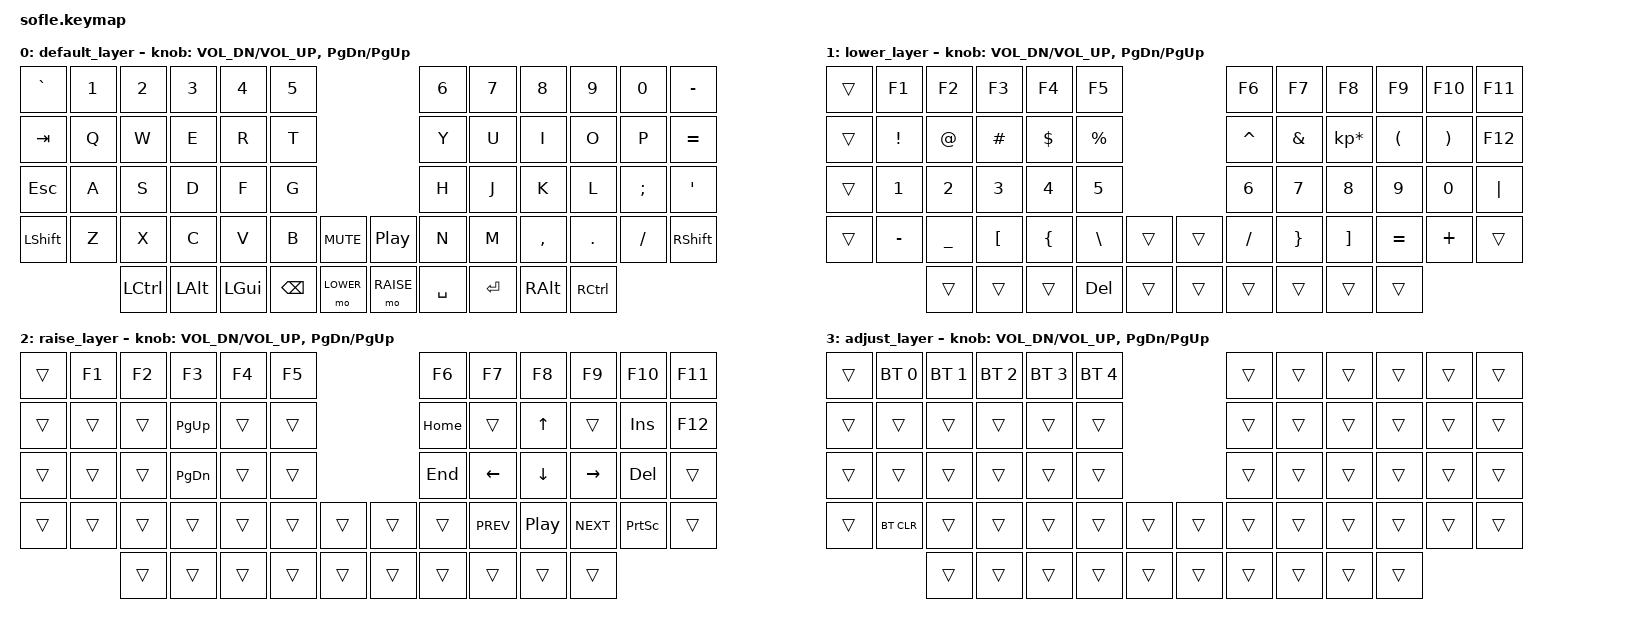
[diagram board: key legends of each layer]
/*
 * Copyright (c) 2020 The ZMK Contributors
 *
 * SPDX-License-Identifier: MIT
 */

#include <behaviors.dtsi>
#include <dt-bindings/zmk/keys.h>
#include <dt-bindings/zmk/bt.h>
#include <dt-bindings/zmk/ext_power.h>

#define DEFAULT 0
#define LOWER   1
#define RAISE   2
#define ADJUST  3

/ {
    conditional_layers {
        compatible = "zmk,conditional-layers";
        adjust_layer {
            if-layers = <LOWER RAISE>;
            then-layer = <ADJUST>;
        };
    };

    keymap {
        compatible = "zmk,keymap";

        default_layer {
// ------------------------------------------------------------------------------------------------------------
// |  `    |  1  |  2  |  3   |  4   |  5   |                   |  6   |  7    |  8    |  9   |   0   |   -   |
// |  TAB  |  Q  |  W  |  E   |  R   |  T   |                   |  Y   |  U    |  I    |  O   |   P   |   =   |
// |  ESC  |  A  |  S  |  D   |  F   |  G   |                   |  H   |  J    |  K    |  L   |   ;   |   '   |
// | SHIFT |  Z  |  X  |  C   |  V   |  B   |  MUTE  |  | PLAY  |  N   |  M    |  ,    |  .   |   /   | SHIFT |
//               | CTRL| ALT  | GUI  | BSPC | LOWER  |  | RAISE | SPACE| ENTER | ALT   | CTRL |
            bindings = <
&kp GRAVE &kp N1 &kp N2    &kp N3   &kp N4   &kp N5                         &kp N6 &kp N7  &kp N8    &kp N9   &kp N0   &kp MINUS
&kp TAB   &kp Q  &kp W     &kp E    &kp R    &kp T                          &kp Y  &kp U   &kp I     &kp O    &kp P    &kp EQUAL
&kp ESC   &kp A  &kp S     &kp D    &kp F    &kp G                          &kp H  &kp J   &kp K     &kp L    &kp SEMI &kp SQT
&kp LSHFT &kp Z  &kp X     &kp C    &kp V    &kp B    &kp C_MUTE &kp C_PP   &kp N  &kp M   &kp COMMA &kp DOT  &kp FSLH &kp RSHFT
                 &kp LCTRL &kp LALT &kp LGUI &kp BSPC &mo LOWER  &mo RAISE  &kp SPACE &kp RET &kp RALT &kp RCTRL
            >;

            sensor-bindings = <&inc_dec_kp C_VOL_DN C_VOL_UP &inc_dec_kp PG_DN PG_UP>;
        };

        lower_layer {
// ------------------------------------------------------------------------------------------------------------
// |       |  F1 |  F2 |  F3  |  F4  |  F5  |                   |  F6  |  F7   |  F8   |  F9  |  F10  |  F11  |
// |       |  !  |  @  |  #   |  $   |  %   |                   |  ^   |  &    |  *    |  (   |   )   |  F12  |
// |       |  1  |  2  |  3   |  4   |  5   |                   |  6   |  7    |  8    |  9   |   0   |   |   |
// |       |  -  |  _  |  [   |  {   |  \   |        |  |       |  /   |  }    |  ]    |  =   |   +   |       |
//               |     |      |      | DEL  |        |  |       |      |       |       |      |
            bindings = <
&trans &kp F1    &kp F2    &kp F3   &kp F4   &kp F5                     &kp F6    &kp F7   &kp F8          &kp F9    &kp F10  &kp F11
&trans &kp EXCL  &kp AT    &kp HASH &kp DLLR &kp PRCNT                  &kp CARET &kp AMPS &kp KP_MULTIPLY &kp LPAR  &kp RPAR &kp F12
&trans &kp N1    &kp N2    &kp N3   &kp N4   &kp N5                     &kp N6    &kp N7   &kp N8          &kp N9    &kp N0   &kp PIPE
&trans &kp MINUS &kp UNDER &kp LBKT &kp LBRC &kp BSLH  &trans   &trans  &kp FSLH  &kp RBRC &kp RBKT        &kp EQUAL &kp PLUS &trans
                 &trans    &trans   &trans   &kp DEL   &trans   &trans  &trans    &trans   &trans          &trans
            >;

            sensor-bindings = <&inc_dec_kp C_VOL_DN C_VOL_UP &inc_dec_kp PG_DN PG_UP>;
        };

        raise_layer {
// ------------------------------------------------------------------------------------------------------------
// |       |  F1 |  F2 |  F3  |  F4  |  F5  |                   |  F6  |  F7   |  F8   |  F9  |  F10  |  F11  |
// |       |     |     | PGUP |      |      |                   | HOME |       |  UP   |      |  INS  |  F12  |
// |       |     |     | PGDN |      |      |                   | END  | LEFT  | DOWN  | RIGHT|  DEL  |       |
// |       |     |     |      |      |      |        |  |       |      | PREV  | PLAY  | NEXT | PSCRN |       |
//               |     |      |      |      |        |  |       |      |       |       |      |
            bindings = <
&trans &kp F1 &kp F2 &kp F3    &kp F4 &kp F5                     &kp F6   &kp F7     &kp F8   &kp F9     &kp F10   &kp F11
&trans &trans &trans &kp PG_UP &trans &trans                      &kp HOME &trans     &kp UP   &trans     &kp INS   &kp F12
&trans &trans &trans &kp PG_DN &trans &trans                      &kp END  &kp LEFT   &kp DOWN &kp RIGHT  &kp DEL   &trans
&trans &trans &trans &trans    &trans &trans  &trans       &trans  &trans   &kp C_PREV &kp C_PP &kp C_NEXT &kp PSCRN &trans
              &trans &trans    &trans &trans  &trans       &trans  &trans   &trans     &trans   &trans
            >;

            sensor-bindings = <&inc_dec_kp C_VOL_DN C_VOL_UP &inc_dec_kp PG_DN PG_UP>;
        };

        adjust_layer {
// ------------------------------------------------------------------------------------------------------------
// |       | BT1 | BT2 | BT3  | BT4  | BT5  |                   |      |       |       |      |       |       |
// |       |     |     |      |      |      |                   |      |       |       |      |       |       |
// |       |     |     |      |      |      |                   |      |       |       |      |       |       |
// |       |BTCLR|     |      |      |      |        |  |       |      |       |       |      |       |       |
//               |     |      |      |      |        |  |       |      |       |       |      |
            bindings = <
&trans &bt BT_SEL 0 &bt BT_SEL 1 &bt BT_SEL 2 &bt BT_SEL 3 &bt BT_SEL 4                  &trans &trans &trans &trans &trans &trans
&trans &trans       &trans       &trans       &trans       &trans                           &trans &trans &trans &trans &trans &trans
&trans &trans       &trans       &trans       &trans       &trans                           &trans &trans &trans &trans &trans &trans
&trans &bt BT_CLR   &trans       &trans       &trans       &trans       &trans       &trans &trans &trans &trans &trans &trans &trans
                    &trans       &trans       &trans       &trans       &trans       &trans &trans &trans &trans &trans
            >;

            sensor-bindings = <&inc_dec_kp C_VOL_DN C_VOL_UP &inc_dec_kp PG_DN PG_UP>;
        };
    };
};
